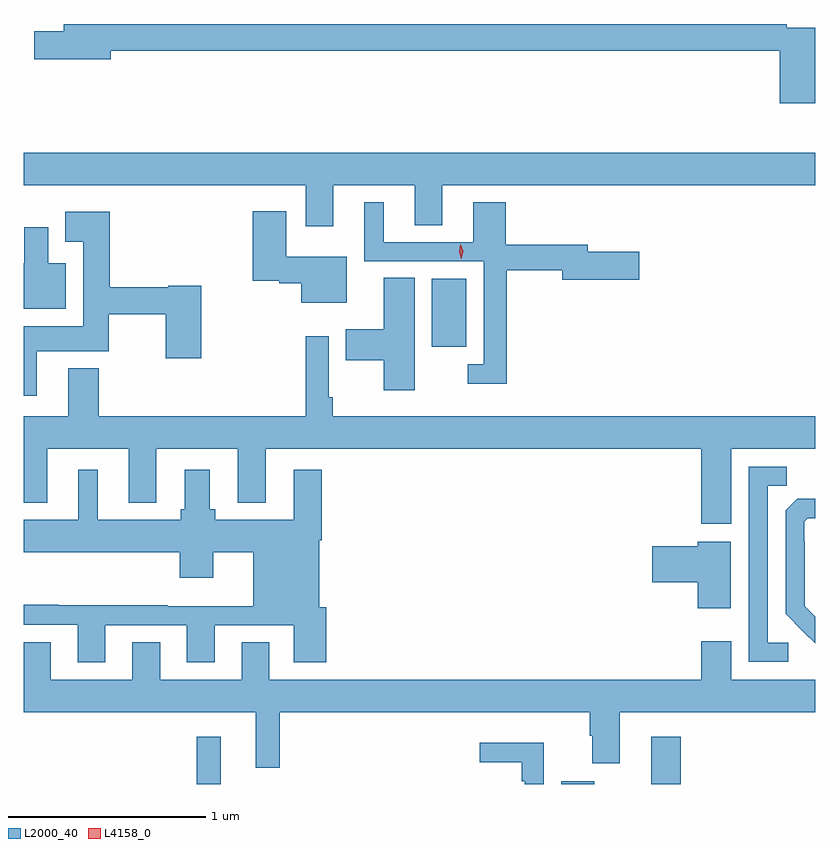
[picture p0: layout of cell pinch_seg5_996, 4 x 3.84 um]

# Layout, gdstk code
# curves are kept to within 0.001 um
import gdstk
lib = gdstk.Library(unit=1e-6, precision=1e-09)
def R(c, l, rs):  # rectangles x0, y0, x1, y1
    for r in rs: c.add(gdstk.rectangle(r[:2], r[2:], *l))
def P(c, l, *ps):  # polygons
    for p in ps: c.add(gdstk.Polygon(p, *l))
L2000_40 = (2000, 40)
L4158_0 = (4158, 0)

pinch_seg5_996 = lib.new_cell('pinch_seg5_996')
R(pinch_seg5_996, L2000_40, [(718.05,840.413,718.171,840.652), (719.894,840.413,720.061,840.427), (720.35,840.413,720.497,840.652), (719.24,842.624,719.413,842.968)])
P(pinch_seg5_996, L2000_40, [(721.177,844.236),(721.034,844.236),(721.034,844.256),(717.377,844.256),(717.377,844.22),(717.228,844.22),(717.228,844.078),(717.616,844.078),(717.616,844.12),(720.998,844.12),(720.998,843.855),(721.177,843.855)],
  [(718.741,843.44),(719.153,843.44),(719.153,843.238),(719.293,843.238),(719.293,843.44),(721.177,843.44),(721.177,843.604),(717.177,843.604),(717.177,843.44),(718.601,843.44),(718.601,843.234),(718.741,843.234)],
  [(719.618,843.01),(719.9,843.01),(719.9,842.963),(720.289,842.963),(720.289,843.105),(720.028,843.105),(720.028,843.139),(719.612,843.139),(719.612,843.355),(719.45,843.355),(719.45,843.153),(718.996,843.153),(718.996,843.355),(718.898,843.355),(718.898,843.057),(719.502,843.057),(719.502,842.535),(719.421,842.535),(719.421,842.438),(719.618,842.438)],
  [(718.81,843.079),(718.504,843.079),(718.504,843.31),(718.334,843.31),(718.334,842.957),(718.467,842.957),(718.467,842.945),(718.58,842.945),(718.58,842.846),(718.81,842.846)],
  [(717.241,842.6),(717.606,842.6),(717.606,842.788),(717.895,842.788),(717.895,842.565),(718.073,842.565),(718.073,842.932),(717.906,842.932),(717.906,842.924),(717.611,842.924),(717.611,843.307),(717.386,843.307),(717.386,843.155),(717.476,843.155),(717.476,842.728),(717.177,842.728),(717.177,842.376),(717.241,842.376)],
  [(717.388,843.046),(717.301,843.046),(717.301,843.229),(717.179,843.229),(717.179,843.046),(717.177,843.046),(717.177,842.816),(717.388,842.816)],
  [(719.152,842.972),(718.997,842.972),(718.997,842.713),(718.804,842.713),(718.804,842.555),(718.997,842.555),(718.997,842.403),(719.152,842.403)],
  [(720.754,842.108),(721.177,842.108),(721.177,842.272),(718.739,842.272),(718.739,842.368),(718.719,842.368),(718.719,842.677),(718.603,842.677),(718.603,842.272),(717.554,842.272),(717.554,842.515),(717.401,842.515),(717.401,842.272),(717.177,842.272),(717.177,841.835),(717.295,841.835),(717.295,842.108),(717.707,842.108),(717.707,841.835),(717.847,841.835),(717.847,842.108),(718.259,842.108),(718.259,841.835),(718.399,841.835),(718.399,842.108),(720.602,842.108),(720.602,841.728),(720.754,841.728)],
  [(721.042,841.128),(720.939,841.128),(720.939,841.921),(721.035,841.921),(721.035,842.016),(720.843,842.016),(720.843,841.032),(721.042,841.032)],
  [(717.589,841.215),(718.001,841.215),(718.001,841.029),(718.141,841.029),(718.141,841.215),(718.541,841.215),(718.541,841.029),(718.706,841.029),(718.706,841.308),(718.669,841.308),(718.669,841.646),(718.682,841.646),(718.682,842.002),(718.541,842.002),(718.541,841.75),(718.143,841.75),(718.143,841.803),(718.117,841.803),(718.117,842.002),(717.989,842.002),(717.989,841.803),(717.97,841.803),(717.97,841.75),(717.55,841.75),(717.55,842.002),(717.452,842.002),(717.452,841.75),(717.177,841.75),(717.177,841.586),(717.965,841.586),(717.965,841.455),(718.135,841.455),(718.135,841.586),(718.337,841.586),(718.337,841.312),(717.905,841.312),(717.905,841.316),(717.353,841.316),(717.353,841.319),(717.177,841.319),(717.177,841.218),(717.449,841.218),(717.449,841.029),(717.589,841.029)],
  [(721.177,841.259),(721.125,841.311),(721.125,841.64),(721.122,841.64),(721.122,841.74),(721.14,841.758),(721.177,841.758),(721.177,841.855),(721.088,841.855),(721.029,841.796),(721.029,841.274),(721.177,841.124)],
  [(720.751,841.639),(720.584,841.639),(720.584,841.616),(720.354,841.616),(720.354,841.433),(720.584,841.433),(720.584,841.302),(720.751,841.302)],
  [(718.471,840.776),(720.038,840.776),(720.038,840.656),(720.05,840.656),(720.05,840.519),(720.19,840.519),(720.19,840.776),(721.177,840.776),(721.177,840.94),(720.754,840.94),(720.754,841.135),(720.602,841.135),(720.602,840.94),(718.417,840.94),(718.417,841.13),(718.277,841.13),(718.277,840.94),(717.865,840.94),(717.865,841.13),(717.725,841.13),(717.725,840.94),(717.313,840.94),(717.313,841.13),(717.177,841.13),(717.177,840.776),(718.349,840.776),(718.349,840.495),(718.471,840.495)],
  [(719.805,840.622),(719.481,840.622),(719.481,840.524),(719.693,840.524),(719.693,840.428),(719.709,840.428),(719.709,840.413),(719.805,840.413)])
P(pinch_seg5_996, L4158_0, [(719.389,843.069),(719.389,843.07),(719.377,843.104),(719.384,843.141),(719.384,843.141),(719.385,843.141),(719.397,843.106),(719.389,843.07)])

lib.write_gds('pinch_seg5_996.gds')
